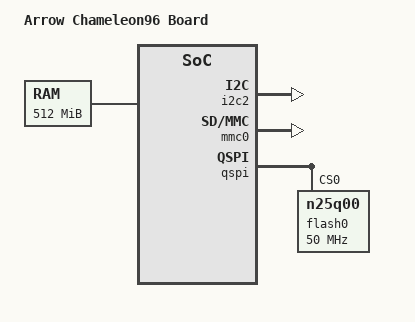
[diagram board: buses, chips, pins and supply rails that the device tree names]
/*
 * Copyright Arrow Electronics, Inc. (C) 2017
 *
 * SPDX-License-Identifier:	GPL-2.0+
 */

#include "socfpga_cyclone5.dtsi"

/ {
	model = "Arrow Chameleon96 Board";
	compatible = "altr,socfpga-cyclone5", "altr,socfpga";

	chosen {
		bootargs = "console=ttyS0,115200";
	};

	memory {
		name = "memory";
		device_type = "memory";
		reg = <0x0 0x20000000>; /* 512MB */
	};

	soc {
		u-boot,dm-pre-reloc;
	};
};

&gpio0 {
	status = "okay";
};

&gpio1 {
	status = "okay";
};

&gpio2 {
	status = "okay";
};

&i2c2 {
	status = "okay";
};

&mmc0 {
	status = "okay";
	u-boot,dm-pre-reloc;
};

&qspi {
	status = "okay";
	u-boot,dm-pre-reloc;

	flash0: n25q00@0 {
		u-boot,dm-pre-reloc;
		#address-cells = <1>;
		#size-cells = <1>;
		compatible = "n25q00", "spi-flash";
		reg = <0>;      /* chip select */
		spi-max-frequency = <50000000>;
		m25p,fast-read;
		page-size = <256>;
		block-size = <16>; /* 2^16, 64KB */
		read-delay = <4>;  /* delay value in read data capture register */
		tshsl-ns = <50>;
		tsd2d-ns = <50>;
		tchsh-ns = <4>;
		tslch-ns = <4>;
	};
};
